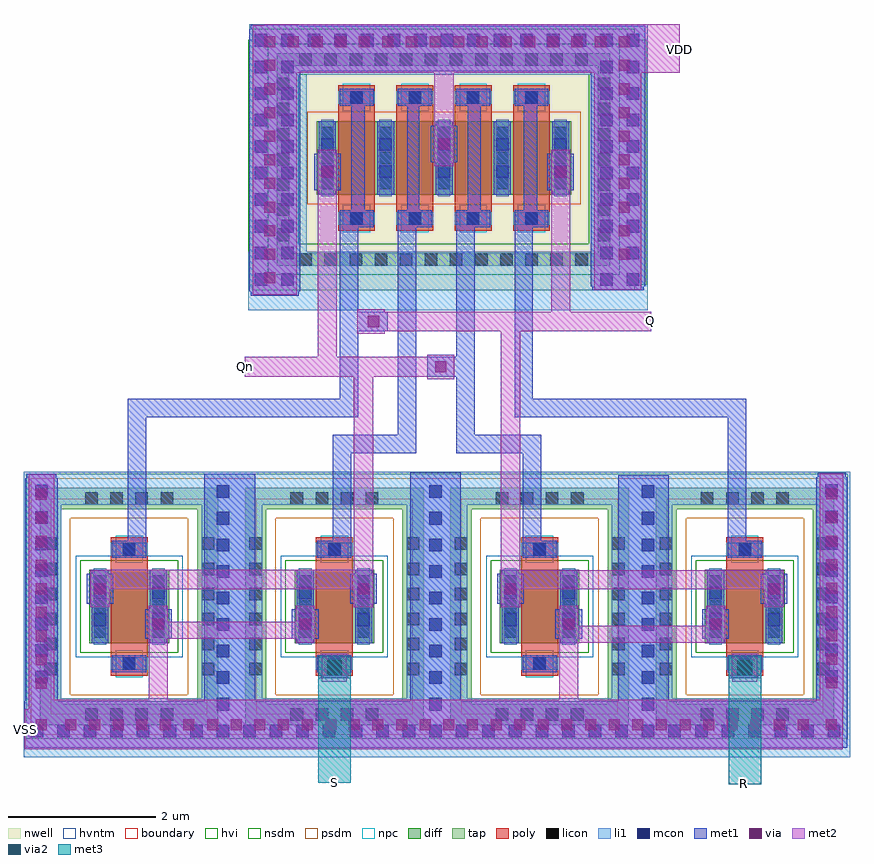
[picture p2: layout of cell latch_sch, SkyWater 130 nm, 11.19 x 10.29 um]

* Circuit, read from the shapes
.subckt latch_sch Q Qn R S VDD VSS
XM1 VSS Q Qn VSS sky130_fd_pr__nfet_g5v0d10v5 w=1 l=0.5
XM2 Qn S VSS VSS sky130_fd_pr__nfet_g5v0d10v5 w=1 l=0.5
XM3 VSS Qn Q VSS sky130_fd_pr__nfet_g5v0d10v5 w=1 l=0.5
XM4 Q R VSS VSS sky130_fd_pr__nfet_g5v0d10v5 w=1 l=0.5
XM5 n1 Q Qn VDD sky130_fd_pr__pfet_g5v0d10v5 w=1 l=0.5
XM6 VDD S n1 VDD sky130_fd_pr__pfet_g5v0d10v5 w=1 l=0.5
XM7 n2 Qn VDD VDD sky130_fd_pr__pfet_g5v0d10v5 w=1 l=0.5
XM8 Q R n2 VDD sky130_fd_pr__pfet_g5v0d10v5 w=1 l=0.5
.ends

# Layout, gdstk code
import gdstk
lib = gdstk.Library(unit=1e-6, precision=1e-09)
def R(c, l, rs):  # rectangles x0, y0, x1, y1
    for r in rs: c.add(gdstk.rectangle(r[:2], r[2:], *l))
def A(c, l, x, y, w, h, nx, ny, dx, dy):  # array of equal rectangles
    R(c, l, [(x+i*dx, y+j*dy, x+i*dx+w, y+j*dy+h) for i in range(nx) for j in range(ny)])
nwell = (64, 20)
diff = (65, 20)
tap = (65, 44)
poly = (66, 20)
licon = (66, 44)
li1 = (67, 20)
mcon = (67, 44)
met1 = (68, 20)
via = (68, 44)
met2 = (69, 20)
via2 = (69, 44)
met3 = (70, 20)
hvi = (75, 20)
nsdm = (93, 44)
psdm = (94, 20)
npc = (95, 20)
hvntm = (125, 20)
boundary = (235, 4)

sky130_fd_pr__nfet_g5v0d = lib.new_cell('sky130_fd_pr__nfet_g5v0d10v5_7DHE2Q')
R(sky130_fd_pr__nfet_g5v0d, diff, [(-0.54,-0.5,0.54,0.5)])
R(sky130_fd_pr__nfet_g5v0d, tap, [(-1.21,-1.61,1.21,-1.32), (-1.21,-1.32,-0.92,1.32), (0.92,-1.32,1.21,1.32), (-1.21,1.32,1.21,1.61)])
R(sky130_fd_pr__nfet_g5v0d, poly, [(-0.25,-0.94,0.25,0.94)])
A(sky130_fd_pr__nfet_g5v0d, licon, -0.595, -1.55, 0.17, 0.17, 4, 2, 0.34, 2.93)
A(sky130_fd_pr__nfet_g5v0d, licon, -1.15, -0.935, 0.17, 0.17, 1, 6, 0, 0.34)
A(sky130_fd_pr__nfet_g5v0d, licon, 0.98, -0.935, 0.17, 0.17, 1, 6, 0, 0.34)
A(sky130_fd_pr__nfet_g5v0d, licon, -0.48, -0.425, 0.17, 0.17, 1, 3, 0, 0.34)
A(sky130_fd_pr__nfet_g5v0d, licon, 0.31, -0.425, 0.17, 0.17, 1, 3, 0, 0.34)
R(sky130_fd_pr__nfet_g5v0d, licon, [(-0.085,-0.86,0.085,-0.69), (-0.085,0.69,0.085,0.86)])
R(sky130_fd_pr__nfet_g5v0d, li1, [(-1.15,-1.55,1.15,-1.38), (-1.15,-1.38,-0.98,1.38), (0.98,-1.38,1.15,1.38), (-0.25,-0.86,0.25,-0.69), (-0.48,-0.52,-0.31,0.52), (0.31,-0.52,0.48,0.52), (-0.25,0.69,0.25,0.86), (-1.15,1.38,1.15,1.55)])
R(sky130_fd_pr__nfet_g5v0d, mcon, [(-0.085,-0.86,0.085,-0.69), (-0.48,-0.265,-0.31,-0.095), (0.31,-0.265,0.48,-0.095), (-0.48,0.095,-0.31,0.265), (0.31,0.095,0.48,0.265), (-0.085,0.69,0.085,0.86)])
R(sky130_fd_pr__nfet_g5v0d, met1, [(-0.23,-0.89,0.23,-0.66), (-0.51,-0.5,-0.28,0.5), (0.28,-0.5,0.51,0.5), (-0.23,0.66,0.23,0.89)])
R(sky130_fd_pr__nfet_g5v0d, hvi, [(-1.395,-1.795,1.395,1.795)])
R(sky130_fd_pr__nfet_g5v0d, nsdm, [(-0.665,-0.625,0.665,0.625)])
R(sky130_fd_pr__nfet_g5v0d, psdm, [(-1.335,-1.735,1.335,-1.195), (-1.335,-1.195,-0.795,1.195), (0.795,-1.195,1.335,1.195), (-1.335,1.195,1.335,1.735)])
R(sky130_fd_pr__nfet_g5v0d, npc, [(-0.185,-0.96,0.185,-0.59), (-0.185,0.59,0.185,0.96)])
R(sky130_fd_pr__nfet_g5v0d, hvntm, [(-0.725,-0.685,0.725,0.685)])
R(sky130_fd_pr__nfet_g5v0d, boundary, [(-1.06,-1.46,1.06,1.46)])

sky130_fd_pr__pfet_g5v0d = lib.new_cell('sky130_fd_pr__pfet_g5v0d10v5_6RZNJP')
R(sky130_fd_pr__pfet_g5v0d, nwell, [(-0.72,-1,0.72,1)])
R(sky130_fd_pr__pfet_g5v0d, diff, [(-0.54,-0.5,0.54,0.5)])
R(sky130_fd_pr__pfet_g5v0d, poly, [(-0.25,-0.985,0.25,0.985)])
A(sky130_fd_pr__pfet_g5v0d, licon, -0.48, -0.425, 0.17, 0.17, 1, 3, 0, 0.34)
A(sky130_fd_pr__pfet_g5v0d, licon, 0.31, -0.425, 0.17, 0.17, 1, 3, 0, 0.34)
R(sky130_fd_pr__pfet_g5v0d, licon, [(-0.085,-0.905,0.085,-0.735), (-0.085,0.735,0.085,0.905)])
R(sky130_fd_pr__pfet_g5v0d, li1, [(-0.25,-0.905,0.25,-0.735), (-0.48,-0.52,-0.31,0.52), (0.31,-0.52,0.48,0.52), (-0.25,0.735,0.25,0.905)])
R(sky130_fd_pr__pfet_g5v0d, mcon, [(-0.085,-0.905,0.085,-0.735), (-0.48,-0.265,-0.31,-0.095), (0.31,-0.265,0.48,-0.095), (-0.48,0.095,-0.31,0.265), (0.31,0.095,0.48,0.265), (-0.085,0.735,0.085,0.905)])
R(sky130_fd_pr__pfet_g5v0d, met1, [(-0.23,-0.935,0.23,-0.705), (-0.51,-0.5,-0.28,0.5), (0.28,-0.5,0.51,0.5), (-0.23,0.705,0.23,0.935)])
R(sky130_fd_pr__pfet_g5v0d, hvi, [(-0.72,-1,0.72,-0.685), (-0.725,-0.685,0.725,0.685), (-0.72,0.685,0.72,1)])
R(sky130_fd_pr__pfet_g5v0d, psdm, [(-0.665,-0.625,0.665,0.625)])
R(sky130_fd_pr__pfet_g5v0d, npc, [(-0.185,-1.005,0.185,-0.635), (-0.185,0.635,0.185,1.005)])

latch_sch = lib.new_cell('latch_sch')
R(latch_sch, nwell, [(9.955,-2.66,15.135,-2.585), (9.9,-2.585,15.295,0.73), (9.955,0.73,15.135,0.88)])
R(latch_sch, tap, [(10.285,-2.33,14.805,-2.16), (10.285,-2.16,10.455,0.38), (14.635,-2.16,14.805,0.38), (10.285,0.38,14.805,0.55)])
A(latch_sch, licon, 10.59, -2.33, 0.17, 0.17, 12, 2, 0.34, 2.71)
A(latch_sch, licon, 10.285, -1.995, 0.17, 0.17, 1, 7, 0, 0.34)
A(latch_sch, licon, 14.635, -1.995, 0.17, 0.17, 1, 7, 0, 0.34)
R(latch_sch, li1, [(6.86,-8.99,18.05,-8.19), (6.86,-8.19,7.365,-5.565), (9.265,-8.19,10.08,-5.565), (12.05,-8.19,12.865,-5.565), (14.82,-8.19,15.635,-5.565), (17.595,-8.19,18.05,-5.565), (6.86,-5.565,18.05,-5.12), (9.9,-2.935,15.31,-2.14), (9.915,-2.14,10.69,0.26), (14.535,-2.14,15.31,0.26), (9.915,0.26,15.31,0.945)])
A(latch_sch, mcon, 6.95, -8.715, 0.17, 0.17, 31, 1, 0.36, 0)
A(latch_sch, mcon, 9.47, -8.355, 0.17, 0.17, 3, 9, 2.88, 0.36)
A(latch_sch, mcon, 7.01, -7.985, 0.17, 0.17, 1, 8, 0, 0.36)
A(latch_sch, mcon, 17.715, -7.98, 0.17, 0.17, 1, 8, 0, 0.36)
A(latch_sch, mcon, 9.985, -2.6, 0.17, 0.17, 1, 9, 0, 0.36)
A(latch_sch, mcon, 10.345, -2.6, 0.17, 0.17, 1, 9, 0, 0.36)
A(latch_sch, mcon, 14.665, -2.6, 0.17, 0.17, 1, 9, 0, 0.36)
A(latch_sch, mcon, 15.025, -2.6, 0.17, 0.17, 1, 9, 0, 0.36)
A(latch_sch, mcon, 9.985, 0.64, 0.17, 0.17, 15, 1, 0.36, 0)
A(latch_sch, met1, 10.94, -7.635, 0.255, 0.03, 3, 1, 2.785, 0)
R(latch_sch, met1, [(6.865,-8.86,18.01,-8.23), (6.875,-8.23,7.32,-5.205), (9.305,-8.23,9.99,-5.145), (12.09,-8.23,12.775,-5.13), (14.91,-8.23,15.595,-5.17), (17.59,-8.23,18.01,-5.195), (10.845,-7.915,11.285,-7.635), (16.405,-7.915,16.845,-7.635), (13.625,-7.835,13.675,-7.635), (14.015,-7.835,14.065,-7.635), (8.145,-7.66,8.4,-7.605), (8.5,-7.385,8.86,-6.985), (10.49,-7.385,10.85,-6.985), (14.06,-7.385,14.42,-6.985), (16.05,-7.385,16.41,-6.985), (7.71,-6.905,8.07,-6.505), (11.28,-6.905,11.64,-6.505), (13.27,-6.905,13.63,-6.505), (16.84,-6.905,17.2,-6.505), (8.145,-6.285,8.4,-6.25), (10.94,-6.285,11.195,-6.23), (13.725,-6.285,13.98,-6.205), (16.51,-6.285,16.765,-6.2), (8.145,-6.25,8.515,-6.22), (8.37,-6.22,8.515,-6.085), (13.72,-6.105,13.97,-6.085), (11.15,-6.095,11.295,-6.085), (8.265,-6.085,8.515,-4.38), (11.045,-6.085,11.295,-4.87), (13.615,-6.085,13.97,-6.055), (16.395,-6.085,16.645,-4.38), (13.615,-6.055,13.865,-4.87), (6.895,-5.205,7.3,-5.145), (17.61,-5.195,17.99,-5.135), (11.045,-4.87,12.175,-4.62), (12.715,-4.87,13.865,-4.62), (11.925,-4.62,12.175,-1.775), (12.715,-4.62,12.965,-3.835), (8.265,-4.38,11.385,-4.13), (13.505,-4.38,16.645,-4.13), (11.135,-4.13,11.385,-3.22), (13.505,-4.13,13.755,-1.775), (12.32,-3.835,12.965,-3.565), (12.715,-3.565,12.965,-1.775), (11.135,-3.22,11.785,-2.95), (11.135,-2.95,11.385,-1.695), (9.93,-2.735,10.585,-2.675), (9.91,-2.675,10.605,0.305), (14.555,-2.665,15.255,-2.605), (14.535,-2.605,15.275,0.305), (12.05,-1.6,12.215,-1.595), (11.24,-1.595,11.48,-1.575), (12.05,-1.595,12.29,-1.58), (12.815,-1.595,13.055,-1.575), (13.605,-1.585,13.845,-1.575), (12.045,-1.58,12.29,-1.575), (11.295,-1.575,11.475,-0.165), (12.045,-1.575,12.225,-1.57), (12.87,-1.575,13.05,-0.165), (13.63,-1.575,13.81,-0.165), (12.05,-1.57,12.215,-0.17), (10.79,-1.31,11.15,-0.81), (13.95,-1.31,14.31,-0.81), (12.37,-0.93,12.73,-0.43), (12.045,-0.17,12.225,-0.165), (11.24,-0.165,11.48,-0.135), (12.045,-0.165,12.29,-0.155), (12.815,-0.165,13.055,-0.135), (13.605,-0.165,13.845,-0.125), (12.05,-0.155,12.29,-0.135), (9.91,0.305,15.275,0.875), (9.93,0.875,15.275,0.92), (9.93,0.92,10.585,0.935)])
A(latch_sch, via, 7.42, -8.62, 0.15, 0.15, 32, 1, 0.32, 0)
A(latch_sch, via, 7.02, -8.06, 0.15, 0.15, 1, 9, 0, 0.32)
A(latch_sch, via, 17.725, -8.055, 0.15, 0.15, 1, 9, 0, 0.32)
A(latch_sch, via, 10.115, -2.57, 0.15, 0.15, 1, 10, 0, 0.32)
A(latch_sch, via, 14.915, -2.25, 0.15, 0.15, 1, 9, 0, 0.32)
A(latch_sch, via, 10.115, 0.63, 0.15, 0.15, 16, 1, 0.32, 0)
R(latch_sch, via, [(7.02,-8.62,7.17,-8.47), (17.72,-8.62,17.87,-8.47), (10.99,-7.85,11.14,-7.7), (16.55,-7.85,16.7,-7.7), (8.605,-7.26,8.755,-7.11), (10.595,-7.26,10.745,-7.11), (14.165,-7.26,14.315,-7.11), (16.155,-7.26,16.305,-7.11), (7.815,-6.78,7.965,-6.63), (11.385,-6.78,11.535,-6.63), (13.375,-6.78,13.525,-6.63), (16.945,-6.78,17.095,-6.63), (12.43,-3.775,12.58,-3.625), (11.52,-3.16,11.67,-3.01), (10.895,-1.135,11.045,-0.985), (14.055,-1.135,14.205,-0.985), (12.475,-0.755,12.625,-0.605)])
R(latch_sch, met2, [(6.87,-8.88,17.95,-8.34), (6.925,-8.34,17.95,-8.31), (6.925,-8.31,17.96,-8.21), (6.925,-8.21,7.27,-5.155), (8.55,-8.21,8.81,-7.385), (14.11,-8.21,14.37,-7.435), (17.64,-8.21,17.96,-5.145), (10.895,-7.965,11.235,-7.585), (16.455,-7.965,16.795,-7.585), (10.54,-7.435,10.8,-7.385), (14.11,-7.435,16.36,-7.205), (8.55,-7.385,10.8,-7.155), (14.11,-7.205,14.37,-6.935), (16.1,-7.205,16.36,-6.935), (8.55,-7.155,8.81,-6.935), (10.54,-7.155,10.8,-6.935), (7.76,-6.955,8.02,-6.71), (11.33,-6.955,11.59,-6.71), (13.32,-6.955,13.58,-6.715), (16.89,-6.955,17.15,-6.715), (13.32,-6.715,17.15,-6.455), (7.76,-6.71,11.59,-6.455), (7.955,-6.455,11.59,-6.45), (13.32,-6.455,13.58,-3.22), (11.33,-6.45,11.59,-3.835), (12.325,-3.865,12.69,-3.835), (9.85,-3.835,12.69,-3.565), (10.84,-3.565,11.1,-0.76), (12.325,-3.565,12.69,-3.535), (11.375,-3.25,11.75,-3.22), (11.375,-3.22,15.36,-2.95), (11.375,-2.95,11.75,-2.92), (14,-2.95,14.26,-0.76), (9.96,-2.725,10.555,0.285), (14.585,-2.655,15.225,0.285), (12.42,-0.98,12.68,0.285), (9.96,0.285,15.74,0.925), (10.12,0.925,15.74,0.94)])
R(latch_sch, via2, [(10.965,-7.875,11.165,-7.675), (16.525,-7.875,16.725,-7.675)])
R(latch_sch, met3, [(16.405,-9.35,16.845,-7.61), (10.845,-9.33,11.285,-7.61)])
R(latch_sch, hvi, [(9.955,-2.66,15.135,-2.585), (9.9,-2.585,15.295,0.73), (9.955,0.73,15.135,0.88)])
R(latch_sch, nsdm, [(10.16,-2.455,14.93,-2.035), (10.16,-2.035,10.58,0.255), (14.51,-2.035,14.93,0.255), (10.16,0.255,14.93,0.675)])
A(latch_sch, psdm, 9.62, -8.68, 0.11, 3.47, 3, 1, 2.78, 0)
latch_sch.add(gdstk.Reference(sky130_fd_pr__nfet_g5v0d, (8.285,-6.945)))
latch_sch.add(gdstk.Reference(sky130_fd_pr__nfet_g5v0d, (11.065,-6.945)))
latch_sch.add(gdstk.Reference(sky130_fd_pr__pfet_g5v0d, (11.365,-0.87)))
latch_sch.add(gdstk.Reference(sky130_fd_pr__pfet_g5v0d, (12.155,-0.87)))
latch_sch.add(gdstk.Reference(sky130_fd_pr__pfet_g5v0d, (12.945,-0.87)))
latch_sch.add(gdstk.Reference(sky130_fd_pr__pfet_g5v0d, (13.735,-0.87)))
latch_sch.add(gdstk.Reference(sky130_fd_pr__nfet_g5v0d, (16.625,-6.945)))
latch_sch.add(gdstk.Reference(sky130_fd_pr__nfet_g5v0d, (13.845,-6.945)))
latch_sch.add(gdstk.Label('Q', (15.35,-3.075), layer=69, texttype=5))
latch_sch.add(gdstk.Label('VSS', (6.875,-8.605), layer=69, texttype=5))
latch_sch.add(gdstk.Label('Qn', (9.855,-3.695), layer=69, texttype=5))
latch_sch.add(gdstk.Label('VDD', (15.735,0.595), layer=69, texttype=5))
latch_sch.add(gdstk.Label('S', (11.06,-9.325), layer=70, texttype=5))
latch_sch.add(gdstk.Label('R', (16.605,-9.345), layer=70, texttype=5))

lib.write_gds('latch_sch.gds')
